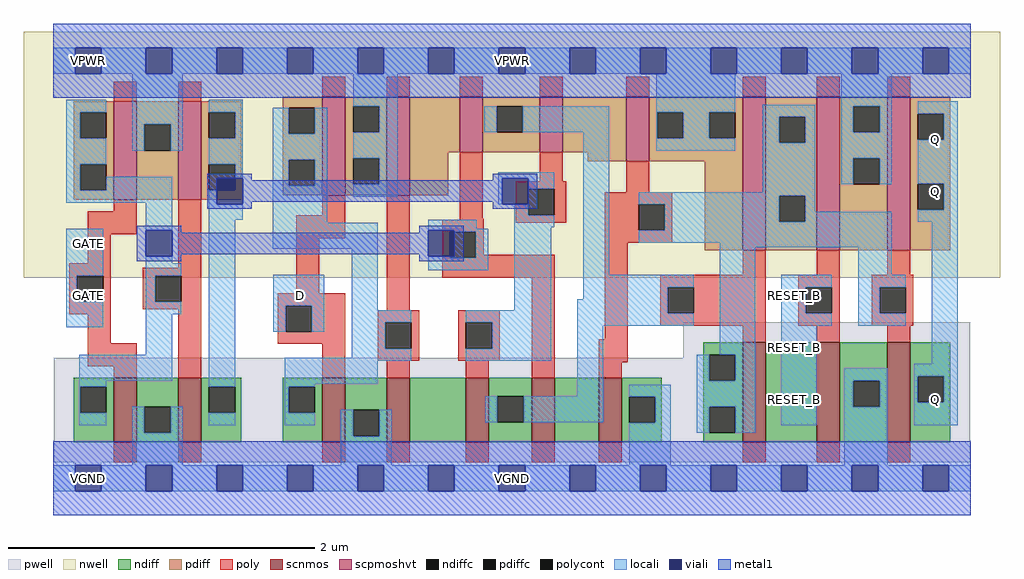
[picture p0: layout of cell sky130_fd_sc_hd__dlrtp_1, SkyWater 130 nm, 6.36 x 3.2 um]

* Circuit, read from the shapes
.subckt sky130_fd_sc_hd__dlrtp_1 D GATE RESET_B VGND VNB VPB VPWR Q
XM1 VGND GATE n1 VNB sky130_fd_pr__nfet_01v8 w=0.42 l=0.15
XM2 n2 n1 VGND VNB sky130_fd_pr__nfet_01v8 w=0.42 l=0.15
XM3 VGND D n3 VNB sky130_fd_pr__nfet_01v8 w=0.42 l=0.15
XM4 n4 n3 VGND VNB sky130_fd_pr__nfet_01v8 w=0.42 l=0.15
XM5 n5 n2 n4 VNB sky130_fd_pr__nfet_01v8 w=0.42 l=0.15
XM6 n6 n1 n5 VNB sky130_fd_pr__nfet_01v8 w=0.42 l=0.15
XM7 VGND n7 n6 VNB sky130_fd_pr__nfet_01v8 w=0.42 l=0.15
XM8 n8 n5 n7 VNB sky130_fd_pr__nfet_01v8 w=0.65 l=0.15
XM9 VGND RESET_B n8 VNB sky130_fd_pr__nfet_01v8 w=0.65 l=0.15
XM10 Q n7 VGND VNB sky130_fd_pr__nfet_01v8 w=0.65 l=0.15
XM11 VPWR GATE n1 VPB sky130_fd_pr__pfet_01v8_hvt w=0.64 l=0.15
XM12 n2 n1 VPWR VPB sky130_fd_pr__pfet_01v8_hvt w=0.64 l=0.15
XM13 VPWR D n3 VPB sky130_fd_pr__pfet_01v8_hvt w=0.64 l=0.15
XM14 n9 n3 VPWR VPB sky130_fd_pr__pfet_01v8_hvt w=0.64 l=0.15
XM15 n5 n1 n9 VPB sky130_fd_pr__pfet_01v8_hvt w=0.36 l=0.15
XM16 n10 n2 n5 VPB sky130_fd_pr__pfet_01v8_hvt w=0.36 l=0.15
XM17 VPWR n7 n10 VPB sky130_fd_pr__pfet_01v8_hvt w=0.42 l=0.15
XM18 n7 n5 VPWR VPB sky130_fd_pr__pfet_01v8_hvt w=1 l=0.15
XM19 VPWR RESET_B n7 VPB sky130_fd_pr__pfet_01v8_hvt w=1 l=0.15
XM20 Q n7 VPWR VPB sky130_fd_pr__pfet_01v8_hvt w=1 l=0.15
.ends

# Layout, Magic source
magic
tech sky130A
magscale 1 2
<< nwell >>
rect -38 261 1234 582
<< pwell >>
rect 821 157 1195 203
rect 1 21 1195 157
rect 29 -17 63 21
<< scnmos >>
rect 79 47 109 131
rect 163 47 193 131
rect 351 47 381 131
rect 435 47 465 131
rect 538 47 568 131
rect 624 47 654 131
rect 711 47 741 131
rect 899 47 929 177
rect 995 47 1025 177
rect 1087 47 1117 177
<< scpmoshvt >>
rect 79 363 109 491
rect 163 363 193 491
rect 351 369 381 497
rect 435 369 465 497
rect 530 425 560 497
rect 634 425 664 497
rect 747 413 777 497
rect 899 297 929 497
rect 995 297 1025 497
rect 1087 297 1117 497
<< ndiff >>
rect 847 161 899 177
rect 27 119 79 131
rect 27 85 35 119
rect 69 85 79 119
rect 27 47 79 85
rect 109 93 163 131
rect 109 59 119 93
rect 153 59 163 93
rect 109 47 163 59
rect 193 119 245 131
rect 193 85 203 119
rect 237 85 245 119
rect 193 47 245 85
rect 299 119 351 131
rect 299 85 307 119
rect 341 85 351 119
rect 299 47 351 85
rect 381 89 435 131
rect 381 55 391 89
rect 425 55 435 89
rect 381 47 435 55
rect 465 47 538 131
rect 568 107 624 131
rect 568 73 579 107
rect 613 73 624 107
rect 568 47 624 73
rect 654 47 711 131
rect 741 106 793 131
rect 741 72 751 106
rect 785 72 793 106
rect 741 47 793 72
rect 847 127 855 161
rect 889 127 899 161
rect 847 93 899 127
rect 847 59 855 93
rect 889 59 899 93
rect 847 47 899 59
rect 929 47 995 177
rect 1025 127 1087 177
rect 1025 93 1043 127
rect 1077 93 1087 127
rect 1025 47 1087 93
rect 1117 133 1169 177
rect 1117 99 1127 133
rect 1161 99 1169 133
rect 1117 47 1169 99
<< pdiff >>
rect 27 477 79 491
rect 27 443 35 477
rect 69 443 79 477
rect 27 409 79 443
rect 27 375 35 409
rect 69 375 79 409
rect 27 363 79 375
rect 109 461 163 491
rect 109 427 119 461
rect 153 427 163 461
rect 109 363 163 427
rect 193 477 245 491
rect 193 443 203 477
rect 237 443 245 477
rect 193 409 245 443
rect 193 375 203 409
rect 237 375 245 409
rect 193 363 245 375
rect 299 483 351 497
rect 299 449 307 483
rect 341 449 351 483
rect 299 415 351 449
rect 299 381 307 415
rect 341 381 351 415
rect 299 369 351 381
rect 381 485 435 497
rect 381 451 391 485
rect 425 451 435 485
rect 381 417 435 451
rect 381 383 391 417
rect 425 383 435 417
rect 381 369 435 383
rect 465 425 530 497
rect 560 485 634 497
rect 560 451 578 485
rect 612 451 634 485
rect 560 425 634 451
rect 664 425 747 497
rect 465 369 515 425
rect 697 413 747 425
rect 777 477 899 497
rect 777 443 787 477
rect 821 443 855 477
rect 889 443 899 477
rect 777 413 899 443
rect 849 297 899 413
rect 929 471 995 497
rect 929 437 946 471
rect 980 437 995 471
rect 929 368 995 437
rect 929 334 946 368
rect 980 334 995 368
rect 929 297 995 334
rect 1025 485 1087 497
rect 1025 451 1043 485
rect 1077 451 1087 485
rect 1025 417 1087 451
rect 1025 383 1043 417
rect 1077 383 1087 417
rect 1025 297 1087 383
rect 1117 475 1169 497
rect 1117 441 1127 475
rect 1161 441 1169 475
rect 1117 384 1169 441
rect 1117 350 1127 384
rect 1161 350 1169 384
rect 1117 297 1169 350
<< ndiffc >>
rect 35 85 69 119
rect 119 59 153 93
rect 203 85 237 119
rect 307 85 341 119
rect 391 55 425 89
rect 579 73 613 107
rect 751 72 785 106
rect 855 127 889 161
rect 855 59 889 93
rect 1043 93 1077 127
rect 1127 99 1161 133
<< pdiffc >>
rect 35 443 69 477
rect 35 375 69 409
rect 119 427 153 461
rect 203 443 237 477
rect 203 375 237 409
rect 307 449 341 483
rect 307 381 341 415
rect 391 451 425 485
rect 391 383 425 417
rect 578 451 612 485
rect 787 443 821 477
rect 855 443 889 477
rect 946 437 980 471
rect 946 334 980 368
rect 1043 451 1077 485
rect 1043 383 1077 417
rect 1127 441 1161 475
rect 1127 350 1161 384
<< poly >>
rect 79 491 109 517
rect 163 491 193 517
rect 351 497 381 523
rect 435 497 465 523
rect 530 497 560 523
rect 634 497 664 523
rect 747 497 777 523
rect 899 497 929 523
rect 995 497 1025 523
rect 1087 497 1117 523
rect 79 348 109 363
rect 45 318 109 348
rect 45 280 75 318
rect 21 264 75 280
rect 163 274 193 363
rect 351 343 381 369
rect 21 230 31 264
rect 65 230 75 264
rect 21 214 75 230
rect 117 264 193 274
rect 117 230 133 264
rect 167 230 193 264
rect 317 313 381 343
rect 317 241 347 313
rect 117 220 193 230
rect 45 176 75 214
rect 45 146 109 176
rect 79 131 109 146
rect 163 131 193 220
rect 293 225 381 241
rect 293 191 303 225
rect 337 191 381 225
rect 435 219 465 369
rect 530 338 560 425
rect 634 387 664 425
rect 603 377 669 387
rect 603 343 619 377
rect 653 343 669 377
rect 747 373 777 413
rect 530 337 561 338
rect 507 321 561 337
rect 603 333 669 343
rect 719 357 807 373
rect 507 287 517 321
rect 551 291 561 321
rect 719 323 763 357
rect 797 323 807 357
rect 719 307 807 323
rect 551 287 654 291
rect 507 261 654 287
rect 293 175 381 191
rect 351 131 381 175
rect 423 203 477 219
rect 423 169 433 203
rect 467 169 477 203
rect 423 153 477 169
rect 528 203 582 219
rect 528 169 538 203
rect 572 169 582 203
rect 528 153 582 169
rect 435 131 465 153
rect 538 131 568 153
rect 624 131 654 261
rect 719 181 749 307
rect 899 265 929 297
rect 995 265 1025 297
rect 1087 265 1117 297
rect 791 249 929 265
rect 791 215 801 249
rect 835 215 929 249
rect 791 199 929 215
rect 971 249 1025 265
rect 971 215 981 249
rect 1015 215 1025 249
rect 971 199 1025 215
rect 1067 249 1121 265
rect 1067 215 1077 249
rect 1111 215 1121 249
rect 1067 199 1121 215
rect 711 151 749 181
rect 899 177 929 199
rect 995 177 1025 199
rect 1087 177 1117 199
rect 711 131 741 151
rect 79 21 109 47
rect 163 21 193 47
rect 351 21 381 47
rect 435 21 465 47
rect 538 21 568 47
rect 624 21 654 47
rect 711 21 741 47
rect 899 21 929 47
rect 995 21 1025 47
rect 1087 21 1117 47
<< polycont >>
rect 31 230 65 264
rect 133 230 167 264
rect 303 191 337 225
rect 619 343 653 377
rect 517 287 551 321
rect 763 323 797 357
rect 433 169 467 203
rect 538 169 572 203
rect 801 215 835 249
rect 981 215 1015 249
rect 1077 215 1111 249
<< locali >>
rect 0 527 29 561
rect 63 527 121 561
rect 155 527 213 561
rect 247 527 305 561
rect 339 527 397 561
rect 431 527 489 561
rect 523 527 581 561
rect 615 527 673 561
rect 707 527 765 561
rect 799 527 857 561
rect 891 527 949 561
rect 983 527 1041 561
rect 1075 527 1133 561
rect 1167 527 1196 561
rect 17 477 69 493
rect 17 443 35 477
rect 17 409 69 443
rect 103 461 169 527
rect 103 427 119 461
rect 153 427 169 461
rect 203 477 247 493
rect 391 485 449 527
rect 237 443 247 477
rect 17 375 35 409
rect 203 409 247 443
rect 69 375 155 393
rect 17 359 155 375
rect 17 264 65 325
rect 17 230 31 264
rect 17 197 65 230
rect 121 323 155 359
rect 121 280 155 289
rect 237 391 247 409
rect 203 357 213 375
rect 203 337 247 357
rect 286 449 307 483
rect 341 449 357 483
rect 286 415 357 449
rect 286 381 307 415
rect 341 381 357 415
rect 121 264 167 280
rect 121 230 133 264
rect 121 214 167 230
rect 121 161 155 214
rect 34 127 155 161
rect 34 119 69 127
rect 34 85 35 119
rect 203 119 237 337
rect 286 333 357 381
rect 425 451 449 485
rect 562 451 578 485
rect 612 451 725 485
rect 391 417 449 451
rect 425 383 449 417
rect 391 367 449 383
rect 580 391 653 399
rect 580 357 585 391
rect 619 377 653 391
rect 601 343 619 357
rect 286 299 423 333
rect 287 225 353 265
rect 287 191 303 225
rect 337 191 353 225
rect 389 219 423 299
rect 489 325 552 337
rect 601 327 653 343
rect 489 323 567 325
rect 523 321 567 323
rect 489 287 517 289
rect 551 287 567 321
rect 489 271 567 287
rect 601 219 649 327
rect 691 265 725 451
rect 786 477 889 527
rect 786 443 787 477
rect 821 443 855 477
rect 786 427 889 443
rect 925 471 993 487
rect 925 437 946 471
rect 980 437 993 471
rect 925 373 993 437
rect 1027 485 1093 527
rect 1027 451 1043 485
rect 1077 451 1093 485
rect 1027 417 1093 451
rect 1027 383 1043 417
rect 1077 383 1093 417
rect 1127 475 1179 491
rect 1161 441 1179 475
rect 1127 384 1179 441
rect 763 368 993 373
rect 763 357 946 368
rect 797 334 946 357
rect 980 347 993 368
rect 1161 350 1179 384
rect 980 334 1093 347
rect 1127 334 1179 350
rect 797 323 1093 334
rect 763 307 1093 323
rect 869 301 1093 307
rect 691 249 835 265
rect 691 233 801 249
rect 389 203 467 219
rect 389 169 433 203
rect 389 157 467 169
rect 34 69 69 85
rect 103 59 119 93
rect 153 59 169 93
rect 203 69 237 85
rect 302 153 467 157
rect 538 203 649 219
rect 572 169 649 203
rect 538 153 649 169
rect 683 215 801 233
rect 683 199 835 215
rect 302 123 423 153
rect 302 119 341 123
rect 302 85 307 119
rect 683 107 717 199
rect 869 161 915 301
rect 1049 265 1093 301
rect 839 127 855 161
rect 889 127 915 161
rect 302 69 341 85
rect 103 17 169 59
rect 375 55 391 89
rect 425 55 441 89
rect 563 73 579 107
rect 613 73 717 107
rect 751 106 805 122
rect 375 17 441 55
rect 785 72 805 106
rect 751 17 805 72
rect 839 93 915 127
rect 839 59 855 93
rect 889 59 915 93
rect 949 249 1015 265
rect 949 215 981 249
rect 949 199 1015 215
rect 1049 249 1111 265
rect 1049 215 1077 249
rect 1049 199 1111 215
rect 949 69 995 199
rect 1145 149 1179 334
rect 1031 127 1088 143
rect 1031 93 1043 127
rect 1077 93 1088 127
rect 1031 17 1088 93
rect 1122 133 1179 149
rect 1122 99 1127 133
rect 1161 99 1179 133
rect 1122 69 1179 99
rect 0 -17 29 17
rect 63 -17 121 17
rect 155 -17 213 17
rect 247 -17 305 17
rect 339 -17 397 17
rect 431 -17 489 17
rect 523 -17 581 17
rect 615 -17 673 17
rect 707 -17 765 17
rect 799 -17 857 17
rect 891 -17 949 17
rect 983 -17 1041 17
rect 1075 -17 1133 17
rect 1167 -17 1196 17
<< viali >>
rect 29 527 63 561
rect 121 527 155 561
rect 213 527 247 561
rect 305 527 339 561
rect 397 527 431 561
rect 489 527 523 561
rect 581 527 615 561
rect 673 527 707 561
rect 765 527 799 561
rect 857 527 891 561
rect 949 527 983 561
rect 1041 527 1075 561
rect 1133 527 1167 561
rect 121 289 155 323
rect 213 375 237 391
rect 237 375 247 391
rect 213 357 247 375
rect 585 357 619 391
rect 489 321 523 323
rect 489 289 517 321
rect 517 289 523 321
rect 29 -17 63 17
rect 121 -17 155 17
rect 213 -17 247 17
rect 305 -17 339 17
rect 397 -17 431 17
rect 489 -17 523 17
rect 581 -17 615 17
rect 673 -17 707 17
rect 765 -17 799 17
rect 857 -17 891 17
rect 949 -17 983 17
rect 1041 -17 1075 17
rect 1133 -17 1167 17
<< metal1 >>
rect 0 561 1196 592
rect 0 527 29 561
rect 63 527 121 561
rect 155 527 213 561
rect 247 527 305 561
rect 339 527 397 561
rect 431 527 489 561
rect 523 527 581 561
rect 615 527 673 561
rect 707 527 765 561
rect 799 527 857 561
rect 891 527 949 561
rect 983 527 1041 561
rect 1075 527 1133 561
rect 1167 527 1196 561
rect 0 496 1196 527
rect 201 391 259 397
rect 201 357 213 391
rect 247 388 259 391
rect 573 391 631 397
rect 573 388 585 391
rect 247 360 585 388
rect 247 357 259 360
rect 201 351 259 357
rect 573 357 585 360
rect 619 357 631 391
rect 573 351 631 357
rect 109 323 167 329
rect 109 289 121 323
rect 155 320 167 323
rect 477 323 535 329
rect 477 320 489 323
rect 155 292 489 320
rect 155 289 167 292
rect 109 283 167 289
rect 477 289 489 292
rect 523 289 535 323
rect 477 283 535 289
rect 0 17 1196 48
rect 0 -17 29 17
rect 63 -17 121 17
rect 155 -17 213 17
rect 247 -17 305 17
rect 339 -17 397 17
rect 431 -17 489 17
rect 523 -17 581 17
rect 615 -17 673 17
rect 707 -17 765 17
rect 799 -17 857 17
rect 891 -17 949 17
rect 983 -17 1041 17
rect 1075 -17 1133 17
rect 1167 -17 1196 17
rect 0 -48 1196 -17
<< labels >>
flabel locali s 949 221 983 255 0 FreeSans 200 0 0 0 RESET_B
port 3 nsew signal input
flabel locali s 305 221 339 255 0 FreeSans 200 0 0 0 D
port 1 nsew signal input
flabel locali s 29 221 63 255 0 FreeSans 200 0 0 0 GATE
port 2 nsew clock input
flabel locali s 1133 357 1167 391 0 FreeSans 200 0 0 0 Q
port 8 nsew signal output
flabel locali s 29 289 63 323 0 FreeSans 200 0 0 0 GATE
port 2 nsew clock input
flabel locali s 1133 425 1167 459 0 FreeSans 200 0 0 0 Q
port 8 nsew signal output
flabel locali s 1133 85 1167 119 0 FreeSans 200 0 0 0 Q
port 8 nsew signal output
flabel locali s 949 85 983 119 0 FreeSans 200 0 0 0 RESET_B
port 3 nsew signal input
flabel locali s 949 153 983 187 0 FreeSans 200 0 0 0 RESET_B
port 3 nsew signal input
flabel metal1 s 29 -17 63 17 0 FreeSans 200 0 0 0 VGND
port 4 nsew ground bidirectional abutment
flabel metal1 s 29 527 63 561 0 FreeSans 200 0 0 0 VPWR
port 7 nsew power bidirectional abutment
flabel nwell s 29 527 63 561 0 FreeSans 200 0 0 0 VPB
port 6 nsew power bidirectional
flabel nwell s 46 544 46 544 0 FreeSans 200 0 0 0 VPB
flabel pwell s 29 -17 63 17 0 FreeSans 200 0 0 0 VNB
port 5 nsew ground bidirectional
flabel pwell s 46 0 46 0 0 FreeSans 200 0 0 0 VNB
rlabel comment s 0 0 0 0 4 dlrtp_1
rlabel metal1 s 0 -48 1196 48 1 VGND
port 4 nsew ground bidirectional abutment
rlabel metal1 s 0 496 1196 592 1 VPWR
port 7 nsew power bidirectional abutment
<< properties >>
string FIXED_BBOX 0 0 1196 544
string GDS_END 2771482
string GDS_FILE $PDKPATH/libs.ref/sky130_fd_sc_hd/gds/sky130_fd_sc_hd.gds
string GDS_START 2760744
string LEFclass CORE
string LEFsite unithd
string LEFsymmetry X Y R90
string path 0.000 0.000 29.900 0.000 
<< end >>
